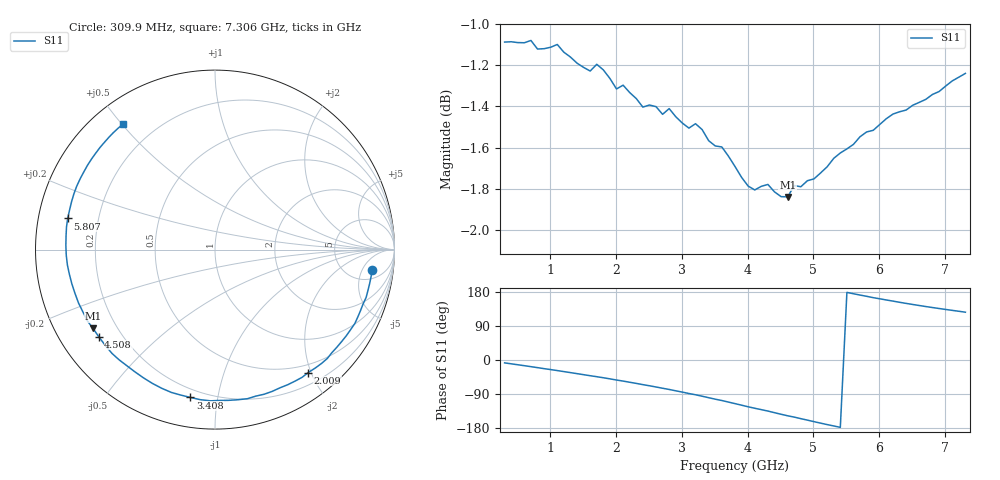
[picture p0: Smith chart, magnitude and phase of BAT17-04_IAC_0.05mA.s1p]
! Infineon Technologies  Discrete & RF Semiconductors
! BAT17-04
! IAC = 0.05 mA
! One-Port S-Parameters
# Hz  S  MA  R  50
!f  S11
!Hz  Mag  Ang
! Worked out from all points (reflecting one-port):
!   71 points, 309.9 MHz to 7.306 GHz, reference 50 ohm
!   lowest |S11| = -1.8 dB at 4.608 GHz (marker M1), VSWR 9.48, Z = 5.73 - j14.5 ohm
!   phase of S11 starts at -8 deg and turns -226 deg over the sweep
!   S11 on the Smith chart (normalised r, x): 309.9 MHz: 8, -8; 2.009 GHz: 0.37, -1.96; 3.408 GHz: 0.15, -0.83; 4.508 GHz: 0.12, -0.33; 5.807 GHz: 0.09, +0.10; 7.306 GHz: 0.09, +0.50
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3.0985e8  0.8824 -7.6
7.0965e8  0.8832 -17.6
1.2094e9  0.8774 -30.6
1.70915e9  0.8715 -44.0
2.009e9  0.8595 -52.8
2.10895e9  0.8613 -55.6
2.6087e9  0.8511 -71.2
2.8086e9  0.8501 -77.7
3.0085e9  0.8433 -84.7
3.2084e9  0.843 -91.7
3.4083e9  0.835 -99.5
3.6082e9  0.8321 -107.0
3.8081e9  0.823 -115.1
4.008e9  0.814 -123.4
4.30785e9  0.8148 -134.8
4.50775e9  0.8093 -143.2
4.6077e9  0.8092 -147.2
4.70765e9  0.8143 -150.7
4.90755e9  0.8165 -158.6
5.2074e9  0.8229 -170.4
5.4073e9  0.8293 -177.8
5.6072e9  0.8333 174.8
5.8071e9  0.8391 168.1
5.90705e9  0.8399 164.5
6.2069e9  0.8475 155.4
6.50675e9  0.8517 146.5
6.90655e9  0.8583 135.9
7.30635e9  0.867 126.1
